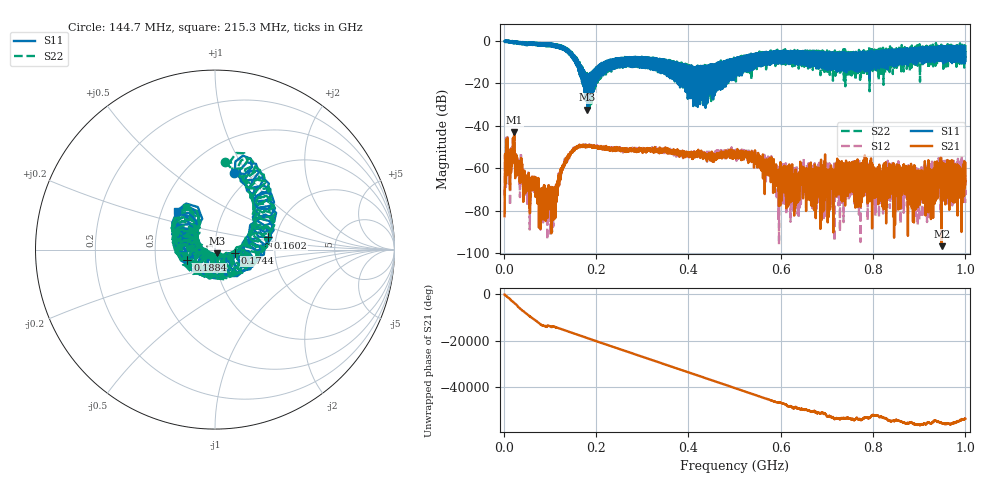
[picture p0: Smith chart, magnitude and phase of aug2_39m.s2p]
!Keysight Technologies N9923A: A.12.45
!Date: Saturday, 02 August 2025 19:54:30
!Timezone: (UTC+08:00) Kuala Lumpur, Singapore
!Model: N9923A
!Serial: MY61181427
!GPS Latitude:
!GPS Longitude:
!GPS TimeStamp: 0001-01-01 00:00:00Z
!GPS Seconds Since Last Read: 0
!CHECKSUM:0396029529
!Correction: S11(ON U)S21(ON U)S12(ON U)S22(ON U)
!S2P File: Measurements:S11,S21,S12,S22:
# Hz S DB R 50
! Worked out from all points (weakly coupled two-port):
!   4001 points, 2 MHz to 1 GHz, reference 50 ohm
!   highest |S21| = -42.99 dB at 22.96 MHz (marker M1); lowest = -96.6 dB at 948.6 MHz (marker M2)
!   lowest |S11| = -32.4 dB at 181.1 MHz (marker M3), VSWR 1.05, Z = 51.1 - j2.17 ohm
!   |S11| at or under -10 dB: 162.4 MHz to 218.5 MHz (56.16 MHz wide, 29.5 % of centre); 218.6 MHz to 220.1 MHz (1.498 MHz wide, 0.683 % of centre); 369.5 MHz to 473 MHz (103.5 MHz wide, 24.6 % of centre) (the widest 3 of 356)
!   |S22| runs from -31.7 to 0.1 dB; largest |S21 - S12| = 0.0033
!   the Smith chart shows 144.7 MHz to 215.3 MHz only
!   S11 on the Smith chart (normalised r, x): 144.7 MHz: 0.82, +0.88; 160.2 MHz: 1.81, +0.27; 174.4 MHz: 1.25, -0.05; 188.4 MHz: 0.73, -0.08; 215.3 MHz: 0.60, +0.29
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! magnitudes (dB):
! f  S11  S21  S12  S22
! 2 MHz  -0.1  -82.5  -69.8  -0.1
! 7.739 MHz  -0.5  -50.8  -49.8  -0.4
! 22.96 MHz  -0.8  -43.0  -43.3  -0.8
! 53.4 MHz  -1.0  -63.5  -61.9  -1.0
! 88.58 MHz  -1.4  -71.8  -69.9  -1.5
! 109.8 MHz  -3.0  -73.2  -70.6  -2.8
! 144.7 MHz  -7.1  -53.8  -53.0  -6.2
! 160.2 MHz  -10.4  -50.2  -49.8  -11.4
! 168.4 MHz  -14.9  -49.5  -49.0  -16.4
! 174.4 MHz  -18.9  -49.0  -49.3  -15.6
! 181.1 MHz  -32.4  -49.3  -49.1  -19.9
! 188.4 MHz  -15.7  -49.5  -49.3  -18.5
! 215.3 MHz  -10.4  -50.7  -50.7  -10.8
! 334.8 MHz  -12.4  -52.2  -51.8  -8.9
! 415.4 MHz  -30.5  -52.4  -52.6  -13.7
! 501 MHz  -11.6  -52.0  -52.1  -12.7
! 632.2 MHz  -4.9  -77.2  -63.5  -9.6
! 667.4 MHz  -5.7  -61.9  -62.4  -9.7
! 833.8 MHz  -5.4  -67.3  -58.8  -5.3
! 948.6 MHz  -3.4  -96.6  -62.0  -7.6
! 994 MHz  -3.7  -68.2  -63.2  -8.1
! 1 GHz  -5.3  -57.4  -76.2  -1.9
